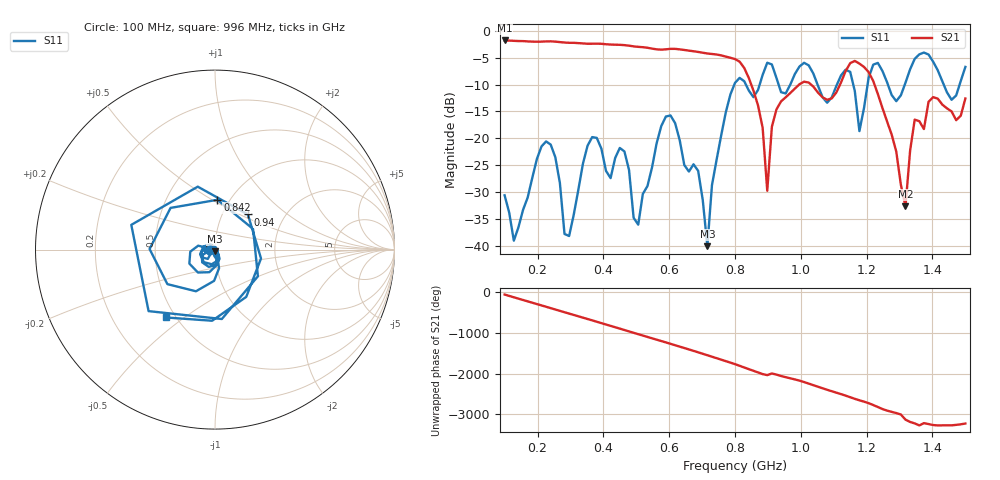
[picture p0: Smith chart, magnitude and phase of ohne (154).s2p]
! NanoVNA-App
! Date: 2025-09-25 14:22:00
! Start: 100MHz Stop: 1,5GHz Points: 101
! S-Parameter data: F S11 S21 S12 S22
# Hz S RI R 50
!  Frequency  S11_Real  S11_Imag  S21_Real  S21_Imag  S12_Real  S12_Imag  S22_Real  S22_Imag
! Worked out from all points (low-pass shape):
!   101 points, 100 MHz to 1.5 GHz, reference 50 ohm
!   highest |S21| = -1.79 dB at 100 MHz (marker M1); lowest = -32.7 dB at 1.318 GHz (marker M2)
!   |S21| within 3 dB of the highest: start of sweep to 771.4 MHz
!   lowest |S11| = -40.1 dB at 716 MHz (marker M3), VSWR 1.02, Z = 49.8 - j0.958 ohm
!   |S11| at or under -10 dB: start of sweep to 798 MHz; 833 MHz to 875 MHz (42.09 MHz wide, 4.93 % of centre); 1.051 GHz to 1.11 GHz (59.2 MHz wide, 5.48 % of centre) (the widest 3 of 7)
!   S12 and S22 are empty: the file has one direction only
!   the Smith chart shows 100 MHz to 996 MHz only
!   S11 on the Smith chart (normalised r, x): 100 MHz: 0.94, -0.01; 842 MHz: 0.88, +0.53; 940 MHz: 1.32, +0.55; 996 MHz: 0.44, -0.43
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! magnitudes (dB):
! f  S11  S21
! 100 MHz  -30.6  -1.8
! 128 MHz  -39.1  -1.9
! 226 MHz  -20.6  -2.0
! 296 MHz  -38.2  -2.2
! 338 MHz  -24.7  -2.3
! 464 MHz  -22.5  -2.7
! 506 MHz  -36.1  -3.0
! 576 MHz  -17.7  -3.5
! 688 MHz  -26.1  -3.9
! 716 MHz  -40.1  -4.2
! 800 MHz  -9.7  -5.3
! 842 MHz  -11.1  -8.8
! 898 MHz  -5.9  -29.8
! 940 MHz  -11.4  -13.1
! 996 MHz  -6.6  -9.9
! 1.038 GHz  -8.0  -10.4
! 1.178 GHz  -18.7  -6.1
! 1.22 GHz  -6.3  -9.4
! 1.276 GHz  -12.0  -19.3
! 1.318 GHz  -9.7  -32.7
! 1.346 GHz  -5.2  -16.5
! 1.5 GHz  -6.7  -12.6
